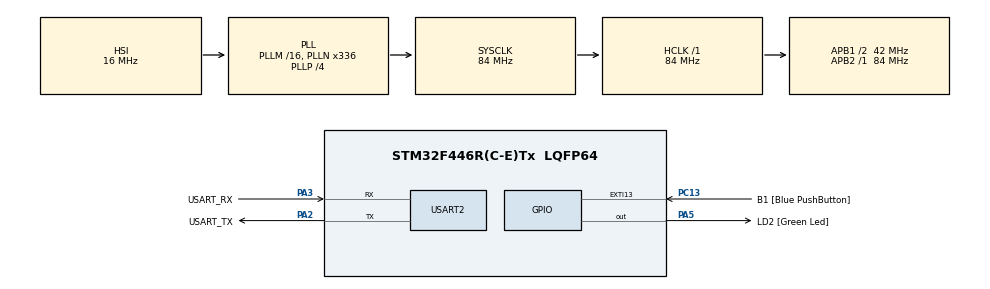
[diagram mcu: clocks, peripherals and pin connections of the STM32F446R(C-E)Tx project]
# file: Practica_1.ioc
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Mcu.Family=STM32F4
Mcu.Name=STM32F446R(C-E)Tx
Mcu.Package=LQFP64
NVIC.PriorityGroup=NVIC_PRIORITYGROUP_0
PA13.GPIO_Label=TMS
PA13.Mode=Serial_Wire
PA13.Signal=SYS_JTMS-SWDIO
PA14.GPIO_Label=TCK
PA14.Mode=Serial_Wire
PA14.Signal=SYS_JTCK-SWCLK
PA2.GPIO_Label=USART_TX
PA2.Mode=Asynchronous
PA2.Signal=USART2_TX
PA3.GPIO_Label=USART_RX
PA3.Mode=Asynchronous
PA3.Signal=USART2_RX
PA5.GPIO_Label=LD2 [Green Led]
PA5.Signal=GPIO_Output
PB3.GPIO_Label=SWO
PB3.Signal=SYS_JTDO-SWO
PC13.GPIO_Label=B1 [Blue PushButton]
PC13.GPIO_ModeDefaultEXTI=GPIO_MODE_IT_FALLING
PC13.Signal=GPXTI13
PC14-OSC32_IN.Mode=LSE-External-Oscillator
PC14-OSC32_IN.Signal=RCC_OSC32_IN
PC15-OSC32_OUT.Mode=LSE-External-Oscillator
PC15-OSC32_OUT.Signal=RCC_OSC32_OUT
PH0-OSC_IN.Mode=HSE-External-Oscillator
PH0-OSC_IN.Signal=RCC_OSC_IN
PH1-OSC_OUT.Mode=HSE-External-Oscillator
PH1-OSC_OUT.Signal=RCC_OSC_OUT
ProjectManager.HeapSize=0x200
ProjectManager.StackSize=0x400
ProjectManager.TargetToolchain=STM32CubeIDE
RCC.48MHZClocksFreq_Value=84000000
RCC.AHBFreq_Value=84000000
RCC.APB1CLKDivider=RCC_HCLK_DIV2
RCC.APB1Freq_Value=42000000
RCC.APB1TimFreq_Value=84000000
RCC.APB2Freq_Value=84000000
RCC.APB2TimFreq_Value=84000000
RCC.CortexFreq_Value=84000000
RCC.FLatency-AdvancedSettings=FLASH_LATENCY_2
RCC.HCLKFreq_Value=84000000
RCC.HSE_VALUE=8000000
RCC.HSI_VALUE=16000000
RCC.PLLN=336
RCC.PLLP=RCC_PLLP_DIV4
RCC.SYSCLKFreq_VALUE=84000000
RCC.SYSCLKSource=RCC_SYSCLKSOURCE_PLLCLK
RCC.USBFreq_Value=168000000
RCC.VCOOutputFreq_Value=336000000
USART2.VirtualMode=VM_ASYNC
board=NUCLEO-F446RE

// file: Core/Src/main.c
/* USER CODE BEGIN Header */
/**
  ******************************************************************************
  * @file           : main.c
  * @brief          : Main program body
  ******************************************************************************
  * @attention
  *
  * Copyright (c) 2025 STMicroelectronics.
  * All rights reserved.
  *
  * This software is licensed under terms that can be found in the LICENSE file
  * in the root directory of this software component.
  * If no LICENSE file comes with this software, it is provided AS-IS.
  *
  ******************************************************************************
  */
/* USER CODE END Header */
#include "main.h"

/* USER CODE BEGIN Includes */
#include <stdint.h>
#include <API_delay.h>
/* USER CODE END Includes */

UART_HandleTypeDef huart2;

void SystemClock_Config(void);
static void MX_GPIO_Init(void);
static void MX_USART2_UART_Init(void);

int main(void)
{

  /* MCU Configuration--------------------------------------------------------*/

  /* Reset of all peripherals, Initializes the Flash interface and the Systick. */
  HAL_Init();

  /* Configure the system clock */
  SystemClock_Config();

  /* Initialize all configured peripherals */
  MX_GPIO_Init();
  MX_USART2_UART_Init();
  /* USER CODE BEGIN 2 */
  // Size of time array
  static const int t_size =4;
  // Different time periods to iterate
  uint32_t time_array [] = {500, 100, 100, 1000};
  // Array indicating how many blinks per period
  uint32_t pattern_array[] = {5,5,5,5};
  // Variable to select blinking period
  uint8_t time_select = 0;
  // Variable to select pattern
  uint8_t pattern_select = 0;
  uint8_t counter = 0;
  delay_t delay;
  /* USER CODE END 2 */

  /* Infinite loop */
  /* USER CODE BEGIN WHILE */
  // We begin with a turned off LED
  HAL_GPIO_WritePin(LD2_GPIO_Port, LD2_Pin, GPIO_PIN_RESET);
  delayInit(&delay, time_array[time_select]);

  while (1)
  {
	  // If sufficient time elapsed, toggle LED
	  if(delayRead(&delay)){
		  HAL_GPIO_TogglePin(LD2_GPIO_Port, LD2_Pin);
		  // Re-initialize the timer
		  delayInit(&delay, time_array[time_select]);
		  // Counter increment to measure amount of blinks
		  counter++;
	  }

	  // Check if the pattern amount was met
	  if((counter/2) == pattern_array[pattern_select]){
		  // Select next time on a circle array
		  time_select = (time_select + 1)% t_size;
		  // Next pattern
		  pattern_select = (pattern_select + 1) % t_size;
		  // Counter reset
		  counter = 0;
	  }
    /* USER CODE END WHILE */

  }
}

void SystemClock_Config(void)
{
  RCC_OscInitTypeDef RCC_OscInitStruct = {0};
  RCC_ClkInitTypeDef RCC_ClkInitStruct = {0};

  /** Configure the main internal regulator output voltage
  */
  __HAL_RCC_PWR_CLK_ENABLE();
  __HAL_PWR_VOLTAGESCALING_CONFIG(PWR_REGULATOR_VOLTAGE_SCALE3);

  /** Initializes the RCC Oscillators according to the specified parameters
  * in the RCC_OscInitTypeDef structure.
  */
  RCC_OscInitStruct.OscillatorType = RCC_OSCILLATORTYPE_HSI;
  RCC_OscInitStruct.HSIState = RCC_HSI_ON;
  RCC_OscInitStruct.HSICalibrationValue = RCC_HSICALIBRATION_DEFAULT;
  RCC_OscInitStruct.PLL.PLLState = RCC_PLL_ON;
  RCC_OscInitStruct.PLL.PLLSource = RCC_PLLSOURCE_HSI;
  RCC_OscInitStruct.PLL.PLLM = 16;
  RCC_OscInitStruct.PLL.PLLN = 336;
  RCC_OscInitStruct.PLL.PLLP = RCC_PLLP_DIV4;
  RCC_OscInitStruct.PLL.PLLQ = 2;
  RCC_OscInitStruct.PLL.PLLR = 2;
  if (HAL_RCC_OscConfig(&RCC_OscInitStruct) != HAL_OK)
  {
    Error_Handler();
  }

  /** Initializes the CPU, AHB and APB buses clocks
  */
  RCC_ClkInitStruct.ClockType = RCC_CLOCKTYPE_HCLK|RCC_CLOCKTYPE_SYSCLK
                              |RCC_CLOCKTYPE_PCLK1|RCC_CLOCKTYPE_PCLK2;
  RCC_ClkInitStruct.SYSCLKSource = RCC_SYSCLKSOURCE_PLLCLK;
  RCC_ClkInitStruct.AHBCLKDivider = RCC_SYSCLK_DIV1;
  RCC_ClkInitStruct.APB1CLKDivider = RCC_HCLK_DIV2;
  RCC_ClkInitStruct.APB2CLKDivider = RCC_HCLK_DIV1;

  if (HAL_RCC_ClockConfig(&RCC_ClkInitStruct, FLASH_LATENCY_2) != HAL_OK)
  {
    Error_Handler();
  }
}

static void MX_USART2_UART_Init(void)
{

  huart2.Instance = USART2;
  huart2.Init.BaudRate = 115200;
  huart2.Init.WordLength = UART_WORDLENGTH_8B;
  huart2.Init.StopBits = UART_STOPBITS_1;
  huart2.Init.Parity = UART_PARITY_NONE;
  huart2.Init.Mode = UART_MODE_TX_RX;
  huart2.Init.HwFlowCtl = UART_HWCONTROL_NONE;
  huart2.Init.OverSampling = UART_OVERSAMPLING_16;
  if (HAL_UART_Init(&huart2) != HAL_OK)
  {
    Error_Handler();
  }

}

static void MX_GPIO_Init(void)
{
  GPIO_InitTypeDef GPIO_InitStruct = {0};

  /* GPIO Ports Clock Enable */
  __HAL_RCC_GPIOC_CLK_ENABLE();
  __HAL_RCC_GPIOH_CLK_ENABLE();
  __HAL_RCC_GPIOA_CLK_ENABLE();
  __HAL_RCC_GPIOB_CLK_ENABLE();

  /*Configure GPIO pin Output Level */
  HAL_GPIO_WritePin(LD2_GPIO_Port, LD2_Pin, GPIO_PIN_RESET);

  /*Configure GPIO pin : B1_Pin */
  GPIO_InitStruct.Pin = B1_Pin;
  GPIO_InitStruct.Mode = GPIO_MODE_IT_FALLING;
  GPIO_InitStruct.Pull = GPIO_NOPULL;
  HAL_GPIO_Init(B1_GPIO_Port, &GPIO_InitStruct);

  /*Configure GPIO pin : LD2_Pin */
  GPIO_InitStruct.Pin = LD2_Pin;
  GPIO_InitStruct.Mode = GPIO_MODE_OUTPUT_PP;
  GPIO_InitStruct.Pull = GPIO_NOPULL;
  GPIO_InitStruct.Speed = GPIO_SPEED_FREQ_LOW;
  HAL_GPIO_Init(LD2_GPIO_Port, &GPIO_InitStruct);

}

void Error_Handler(void)
{
  __disable_irq();
  while (1)
  {
  }
}
